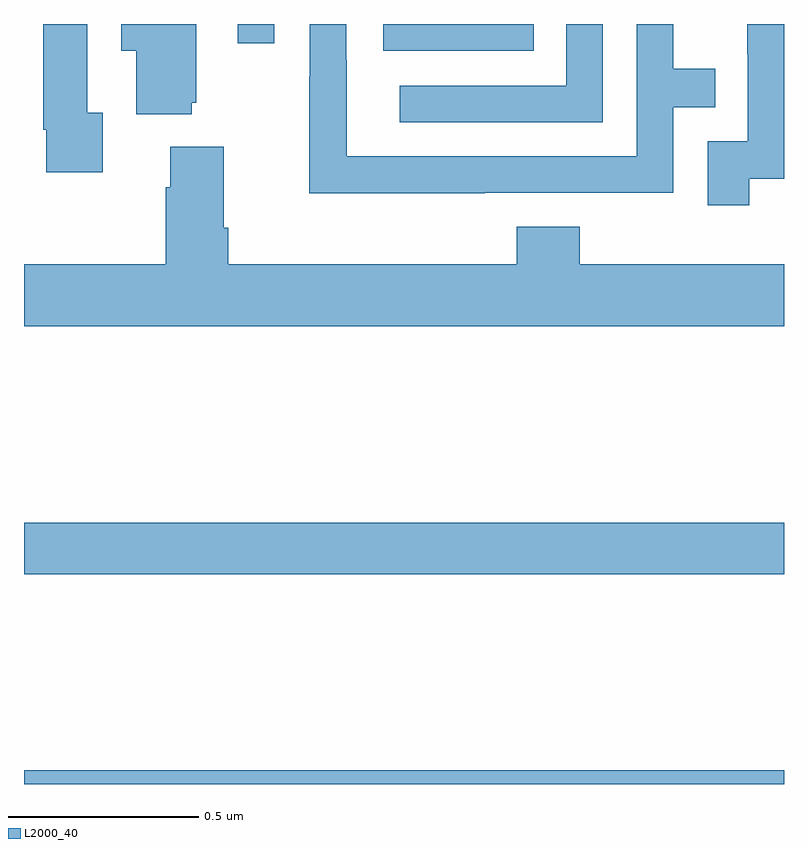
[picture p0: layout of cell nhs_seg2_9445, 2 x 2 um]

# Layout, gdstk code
import gdstk
lib = gdstk.Library(unit=1e-6, precision=1e-09)
def R(c, l, rs):  # rectangles x0, y0, x1, y1
    for r in rs: c.add(gdstk.rectangle(r[:2], r[2:], *l))
def P(c, l, *ps):  # polygons
    for p in ps: c.add(gdstk.Polygon(p, *l))
L2000_40 = (2000, 40)

nhs_seg2_9445 = lib.new_cell('nhs_seg2_9445')
R(nhs_seg2_9445, L2000_40, [(229,611.8,231,611.836), (229,612.352,231,612.488), (229.946,613.73,230.342,613.8), (229.563,613.749,229.659,613.8)])
P(nhs_seg2_9445, L2000_40, [(230.908,613.393),(231,613.393),(231,613.8),(230.903,613.8),(230.903,613.721),(230.904,613.721),(230.904,613.491),(230.799,613.491),(230.799,613.323),(230.908,613.323)],
  [(230.523,613.8),(230.427,613.8),(230.427,613.638),(229.989,613.638),(229.989,613.542),(230.523,613.542)],
  [(229.207,613.566),(229.167,613.566),(229.167,613.8),(229.051,613.8),(229.051,613.522),(229.059,613.522),(229.059,613.41),(229.207,613.41)],
  [(229.442,613.593),(229.453,613.593),(229.453,613.8),(229.256,613.8),(229.256,613.73),(229.295,613.73),(229.295,613.562),(229.442,613.562)],
  [(230.213,613.356),(230.709,613.356),(230.709,613.581),(230.819,613.581),(230.819,613.682),(230.709,613.682),(230.709,613.8),(230.613,613.8),(230.613,613.452),(229.849,613.452),(229.849,613.706),(229.848,613.706),(229.848,613.8),(229.752,613.8),(229.752,613.661),(229.75,613.661),(229.75,613.355),(230.213,613.355)],
  [(231,613.168),(230.462,613.168),(230.462,613.267),(230.297,613.267),(230.297,613.168),(229.538,613.168),(229.538,613.264),(229.525,613.264),(229.525,613.477),(229.385,613.477),(229.385,613.37),(229.373,613.37),(229.373,613.168),(229,613.168),(229,613.004),(231,613.004)])

lib.write_gds('nhs_seg2_9445.gds')
